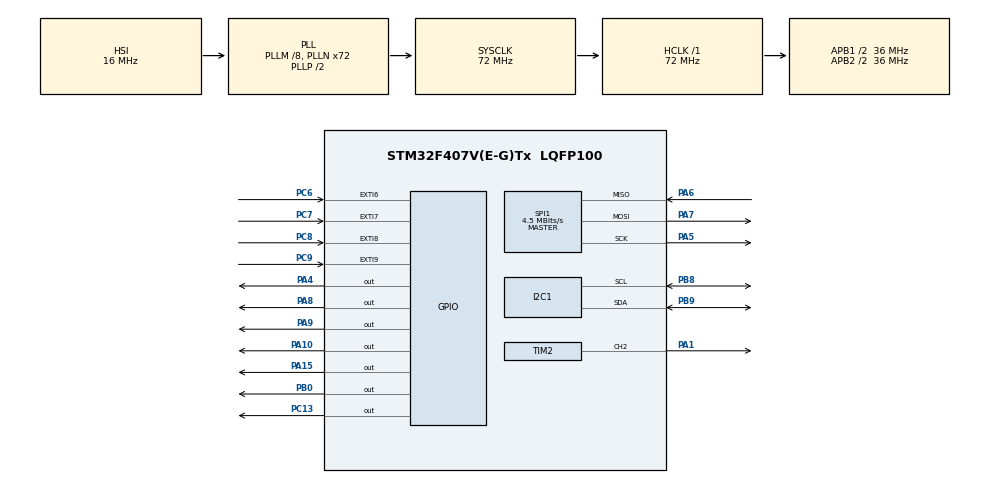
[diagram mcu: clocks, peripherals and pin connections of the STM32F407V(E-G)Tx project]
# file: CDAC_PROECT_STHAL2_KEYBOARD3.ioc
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Mcu.Family=STM32F4
Mcu.Name=STM32F407V(E-G)Tx
Mcu.Package=LQFP100
NVIC.EXTI9_5_IRQn=true\:0\:0\:false\:false\:true\:true\:true\:true
NVIC.PriorityGroup=NVIC_PRIORITYGROUP_0
PA1.Signal=S_TIM2_CH2
PA10.Signal=GPIO_Output
PA13.Mode=Serial_Wire
PA13.Signal=SYS_JTMS-SWDIO
PA14.Mode=Serial_Wire
PA14.Signal=SYS_JTCK-SWCLK
PA15.Signal=GPIO_Output
PA4.Signal=GPIO_Output
PA5.Mode=Full_Duplex_Master
PA5.Signal=SPI1_SCK
PA6.Mode=Full_Duplex_Master
PA6.Signal=SPI1_MISO
PA7.Mode=Full_Duplex_Master
PA7.Signal=SPI1_MOSI
PA8.Signal=GPIO_Output
PA9.Signal=GPIO_Output
PB0.Signal=GPIO_Output
PB8.Mode=I2C
PB8.Signal=I2C1_SCL
PB9.Mode=I2C
PB9.Signal=I2C1_SDA
PC13-ANTI_TAMP.Signal=GPIO_Output
PC6.Signal=GPXTI6
PC7.Signal=GPXTI7
PC8.Signal=GPXTI8
PC9.Signal=GPXTI9
PH0-OSC_IN.Mode=HSE-External-Oscillator
PH0-OSC_IN.Signal=RCC_OSC_IN
PH1-OSC_OUT.Mode=HSE-External-Oscillator
PH1-OSC_OUT.Signal=RCC_OSC_OUT
ProjectManager.HeapSize=0x200
ProjectManager.StackSize=0x400
ProjectManager.TargetToolchain=STM32CubeIDE
RCC.48MHZClocksFreq_Value=20571428.57142857
RCC.AHBFreq_Value=72000000
RCC.APB1CLKDivider=RCC_HCLK_DIV2
RCC.APB1Freq_Value=36000000
RCC.APB1TimFreq_Value=72000000
RCC.APB2CLKDivider=RCC_HCLK_DIV2
RCC.APB2Freq_Value=36000000
RCC.APB2TimFreq_Value=72000000
RCC.CortexFreq_Value=72000000
RCC.HCLKFreq_Value=72000000
RCC.HSE_VALUE=8000000
RCC.HSI_VALUE=16000000
RCC.LSE_VALUE=32768
RCC.PLLM=8
RCC.PLLN=72
RCC.PLLQ=7
RCC.SYSCLKFreq_VALUE=72000000
RCC.SYSCLKSource=RCC_SYSCLKSOURCE_PLLCLK
RCC.VCOOutputFreq_Value=144000000
SH.S_TIM2_CH2.0=TIM2_CH2,PWM Generation2 CH2
SPI1.BaudRatePrescaler=SPI_BAUDRATEPRESCALER_8
SPI1.CalculateBaudRate=4.5 MBits/s
SPI1.Direction=SPI_DIRECTION_2LINES
SPI1.Mode=SPI_MODE_MASTER
SPI1.VirtualType=VM_MASTER
TIM2.Channel-PWM\ Generation2\ CH2=TIM_CHANNEL_2
TIM2.Period=10000-1
TIM2.Prescaler=144-1
VP_TIM2_VS_ClockSourceINT.Mode=Internal
board=STM32F407G-DISC1

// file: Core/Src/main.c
/* USER CODE BEGIN Header */
/**
  ******************************************************************************
  * @file           : main.c
  * @brief          : Main program body
  ******************************************************************************
  * @attention
  *
  * Copyright (c) 2024 STMicroelectronics.
  * All rights reserved.
  *
  * This software is licensed under terms that can be found in the LICENSE file
  * in the root directory of this software component.
  * If no LICENSE file comes with this software, it is provided AS-IS.
  *
  ******************************************************************************
  */
/* USER CODE END Header */
#include "main.h"

/* USER CODE BEGIN Includes */
#include "rc522.h"
#include "string.h"
#include "liquidcrystal_i2c.h"
#include "keypad.h"
/* USER CODE END Includes */

I2C_HandleTypeDef hi2c1;

SPI_HandleTypeDef hspi1;

TIM_HandleTypeDef htim2;

/* USER CODE BEGIN PV */
uint8_t status;
uint8_t str[MAX_LEN]; // Max_LEN = 16
uint8_t sNum[5];
char keypadInput[10];
int inputIndex = 0;
static int flag =0;
const char correctPassword[] = "A";
/* USER CODE END PV */

void SystemClock_Config(void);
static void MX_GPIO_Init(void);
static void MX_SPI1_Init(void);
static void MX_I2C1_Init(void);
static void MX_TIM2_Init(void);

/* USER CODE BEGIN 0 */
void updateDoorState(const char* state, uint32_t angle) {
    // Set servo position
    __HAL_TIM_SET_COMPARE(&htim2, TIM_CHANNEL_2, angle);

    // Update LCD display
    HD44780_SetCursor(0, 0);
    HD44780_PrintStr(state);
    if(flag == 0) HAL_Delay(1000); // Adjust delay for synchronization
    else{
    	HAL_Delay(5000);
    }
}
void checkKeypadInput()
{
    char key = Keypad_GetKey(); // Get key from keypad
    if (key != 0)
    {   // Check if a key is pressed
        if (key == '#')
            {
                // Lock door
                updateDoorState("Door_Locked", 250);
            }
        else
        {
            // Collect keypad input
            keypadInput[inputIndex++] = key;
            if (inputIndex >= sizeof(keypadInput) - 1)
            {
                inputIndex = sizeof(keypadInput) - 1;
            }

            // Check password
            if (strcmp(keypadInput, correctPassword) == 0)
            {

            	flag =1;
                // Unlock door
                updateDoorState("Door_Unlocked", 750);
                flag =0;
                memset(keypadInput, 0, sizeof(keypadInput));
                inputIndex = 0;
            }
        }
    }
}

/* USER CODE END 0 */

int main(void)
{

  /* MCU Configuration--------------------------------------------------------*/

  /* Reset of all peripherals, Initializes the Flash interface and the Systick. */
  HAL_Init();

  /* Configure the system clock */
  SystemClock_Config();

  /* Initialize all configured peripherals */
  MX_GPIO_Init();
  MX_SPI1_Init();
  MX_I2C1_Init();
  MX_TIM2_Init();
  /* USER CODE BEGIN 2 */
  MFRC522_Init();
  HD44780_Init(2);
  HD44780_Clear();
  HAL_TIM_PWM_Start(&htim2, TIM_CHANNEL_2);
  Keypad_Init(); // Initialize the keypad
  /* USER CODE END 2 */

  /* Infinite loop */
  /* USER CODE BEGIN WHILE */
  while (1)
  {
      uint8_t status;
      uint8_t str[MAX_LEN]; // Max_LEN = 16
      // Request for RFID tag
      status = MFRC522_Request(PICC_REQIDL, str);
      if (status == MI_OK) {
          status = MFRC522_Anticoll(str);
          if (status == MI_OK) {
              // RFID tag detected
        	  HD44780_Clear();
        	  flag =1;
              updateDoorState("Door Unlocked", 250);
              flag =0;
          }
          else
          {
              // Error in Anticoll
              updateDoorState("Error_in_Anticoll", 250);
          }
      }
      else
      {
        // No RFID tag detected
    	  HD44780_Clear();
          updateDoorState("Door Locked", 1250);
      }
      checkKeypadInput();

    /* USER CODE END WHILE */

  }
}

void SystemClock_Config(void)
{
  RCC_OscInitTypeDef RCC_OscInitStruct = {0};
  RCC_ClkInitTypeDef RCC_ClkInitStruct = {0};

  /** Configure the main internal regulator output voltage
  */
  __HAL_RCC_PWR_CLK_ENABLE();
  __HAL_PWR_VOLTAGESCALING_CONFIG(PWR_REGULATOR_VOLTAGE_SCALE1);

  /** Initializes the RCC Oscillators according to the specified parameters
  * in the RCC_OscInitTypeDef structure.
  */
  RCC_OscInitStruct.OscillatorType = RCC_OSCILLATORTYPE_HSI;
  RCC_OscInitStruct.HSIState = RCC_HSI_ON;
  RCC_OscInitStruct.HSICalibrationValue = RCC_HSICALIBRATION_DEFAULT;
  RCC_OscInitStruct.PLL.PLLState = RCC_PLL_ON;
  RCC_OscInitStruct.PLL.PLLSource = RCC_PLLSOURCE_HSI;
  RCC_OscInitStruct.PLL.PLLM = 8;
  RCC_OscInitStruct.PLL.PLLN = 72;
  RCC_OscInitStruct.PLL.PLLP = RCC_PLLP_DIV2;
  RCC_OscInitStruct.PLL.PLLQ = 7;
  if (HAL_RCC_OscConfig(&RCC_OscInitStruct) != HAL_OK)
  {
    Error_Handler();
  }

  /** Initializes the CPU, AHB and APB buses clocks
  */
  RCC_ClkInitStruct.ClockType = RCC_CLOCKTYPE_HCLK|RCC_CLOCKTYPE_SYSCLK
                              |RCC_CLOCKTYPE_PCLK1|RCC_CLOCKTYPE_PCLK2;
  RCC_ClkInitStruct.SYSCLKSource = RCC_SYSCLKSOURCE_PLLCLK;
  RCC_ClkInitStruct.AHBCLKDivider = RCC_SYSCLK_DIV1;
  RCC_ClkInitStruct.APB1CLKDivider = RCC_HCLK_DIV2;
  RCC_ClkInitStruct.APB2CLKDivider = RCC_HCLK_DIV2;

  if (HAL_RCC_ClockConfig(&RCC_ClkInitStruct, FLASH_LATENCY_2) != HAL_OK)
  {
    Error_Handler();
  }
}

static void MX_I2C1_Init(void)
{

  hi2c1.Instance = I2C1;
  hi2c1.Init.ClockSpeed = 100000;
  hi2c1.Init.DutyCycle = I2C_DUTYCYCLE_2;
  hi2c1.Init.OwnAddress1 = 0;
  hi2c1.Init.AddressingMode = I2C_ADDRESSINGMODE_7BIT;
  hi2c1.Init.DualAddressMode = I2C_DUALADDRESS_DISABLE;
  hi2c1.Init.OwnAddress2 = 0;
  hi2c1.Init.GeneralCallMode = I2C_GENERALCALL_DISABLE;
  hi2c1.Init.NoStretchMode = I2C_NOSTRETCH_DISABLE;
  if (HAL_I2C_Init(&hi2c1) != HAL_OK)
  {
    Error_Handler();
  }

}

static void MX_SPI1_Init(void)
{

  /* SPI1 parameter configuration*/
  hspi1.Instance = SPI1;
  hspi1.Init.Mode = SPI_MODE_MASTER;
  hspi1.Init.Direction = SPI_DIRECTION_2LINES;
  hspi1.Init.DataSize = SPI_DATASIZE_8BIT;
  hspi1.Init.CLKPolarity = SPI_POLARITY_LOW;
  hspi1.Init.CLKPhase = SPI_PHASE_1EDGE;
  hspi1.Init.NSS = SPI_NSS_SOFT;
  hspi1.Init.BaudRatePrescaler = SPI_BAUDRATEPRESCALER_8;
  hspi1.Init.FirstBit = SPI_FIRSTBIT_MSB;
  hspi1.Init.TIMode = SPI_TIMODE_DISABLE;
  hspi1.Init.CRCCalculation = SPI_CRCCALCULATION_DISABLE;
  hspi1.Init.CRCPolynomial = 10;
  if (HAL_SPI_Init(&hspi1) != HAL_OK)
  {
    Error_Handler();
  }

}

static void MX_TIM2_Init(void)
{

  TIM_ClockConfigTypeDef sClockSourceConfig = {0};
  TIM_MasterConfigTypeDef sMasterConfig = {0};
  TIM_OC_InitTypeDef sConfigOC = {0};

  htim2.Instance = TIM2;
  htim2.Init.Prescaler = 144-1;
  htim2.Init.CounterMode = TIM_COUNTERMODE_UP;
  htim2.Init.Period = 10000-1;
  htim2.Init.ClockDivision = TIM_CLOCKDIVISION_DIV1;
  htim2.Init.AutoReloadPreload = TIM_AUTORELOAD_PRELOAD_DISABLE;
  if (HAL_TIM_Base_Init(&htim2) != HAL_OK)
  {
    Error_Handler();
  }
  sClockSourceConfig.ClockSource = TIM_CLOCKSOURCE_INTERNAL;
  if (HAL_TIM_ConfigClockSource(&htim2, &sClockSourceConfig) != HAL_OK)
  {
    Error_Handler();
  }
  if (HAL_TIM_PWM_Init(&htim2) != HAL_OK)
  {
    Error_Handler();
  }
  sMasterConfig.MasterOutputTrigger = TIM_TRGO_RESET;
  sMasterConfig.MasterSlaveMode = TIM_MASTERSLAVEMODE_DISABLE;
  if (HAL_TIMEx_MasterConfigSynchronization(&htim2, &sMasterConfig) != HAL_OK)
  {
    Error_Handler();
  }
  sConfigOC.OCMode = TIM_OCMODE_PWM1;
  sConfigOC.Pulse = 0;
  sConfigOC.OCPolarity = TIM_OCPOLARITY_HIGH;
  sConfigOC.OCFastMode = TIM_OCFAST_DISABLE;
  if (HAL_TIM_PWM_ConfigChannel(&htim2, &sConfigOC, TIM_CHANNEL_2) != HAL_OK)
  {
    Error_Handler();
  }
  HAL_TIM_MspPostInit(&htim2);

}

static void MX_GPIO_Init(void)
{
  GPIO_InitTypeDef GPIO_InitStruct = {0};

  /* GPIO Ports Clock Enable */
  __HAL_RCC_GPIOC_CLK_ENABLE();
  __HAL_RCC_GPIOH_CLK_ENABLE();
  __HAL_RCC_GPIOA_CLK_ENABLE();
  __HAL_RCC_GPIOB_CLK_ENABLE();

  /*Configure GPIO pin Output Level */
  HAL_GPIO_WritePin(GPIOC, GPIO_PIN_13, GPIO_PIN_RESET);

  /*Configure GPIO pin Output Level */
  HAL_GPIO_WritePin(GPIOA, GPIO_PIN_4|GPIO_PIN_8|GPIO_PIN_9|GPIO_PIN_10
                          |GPIO_PIN_15, GPIO_PIN_RESET);

  /*Configure GPIO pin Output Level */
  HAL_GPIO_WritePin(GPIOB, GPIO_PIN_0, GPIO_PIN_RESET);

  /*Configure GPIO pin : PC13 */
  GPIO_InitStruct.Pin = GPIO_PIN_13;
  GPIO_InitStruct.Mode = GPIO_MODE_OUTPUT_PP;
  GPIO_InitStruct.Pull = GPIO_NOPULL;
  GPIO_InitStruct.Speed = GPIO_SPEED_FREQ_LOW;
  HAL_GPIO_Init(GPIOC, &GPIO_InitStruct);

  /*Configure GPIO pins : PA4 PA8 PA9 PA10
                           PA15 */
  GPIO_InitStruct.Pin = GPIO_PIN_4|GPIO_PIN_8|GPIO_PIN_9|GPIO_PIN_10
                          |GPIO_PIN_15;
  GPIO_InitStruct.Mode = GPIO_MODE_OUTPUT_PP;
  GPIO_InitStruct.Pull = GPIO_NOPULL;
  GPIO_InitStruct.Speed = GPIO_SPEED_FREQ_LOW;
  HAL_GPIO_Init(GPIOA, &GPIO_InitStruct);

  /*Configure GPIO pin : PB0 */
  GPIO_InitStruct.Pin = GPIO_PIN_0;
  GPIO_InitStruct.Mode = GPIO_MODE_OUTPUT_PP;
  GPIO_InitStruct.Pull = GPIO_NOPULL;
  GPIO_InitStruct.Speed = GPIO_SPEED_FREQ_LOW;
  HAL_GPIO_Init(GPIOB, &GPIO_InitStruct);

  /*Configure GPIO pins : PC6 PC7 PC8 PC9 */
  GPIO_InitStruct.Pin = GPIO_PIN_6|GPIO_PIN_7|GPIO_PIN_8|GPIO_PIN_9;
  GPIO_InitStruct.Mode = GPIO_MODE_IT_RISING;
  GPIO_InitStruct.Pull = GPIO_NOPULL;
  HAL_GPIO_Init(GPIOC, &GPIO_InitStruct);

  /* EXTI interrupt init*/
  HAL_NVIC_SetPriority(EXTI9_5_IRQn, 0, 0);
  HAL_NVIC_EnableIRQ(EXTI9_5_IRQn);

}

void Error_Handler(void)
{
  __disable_irq();
  while (1)
  {
  }
}
